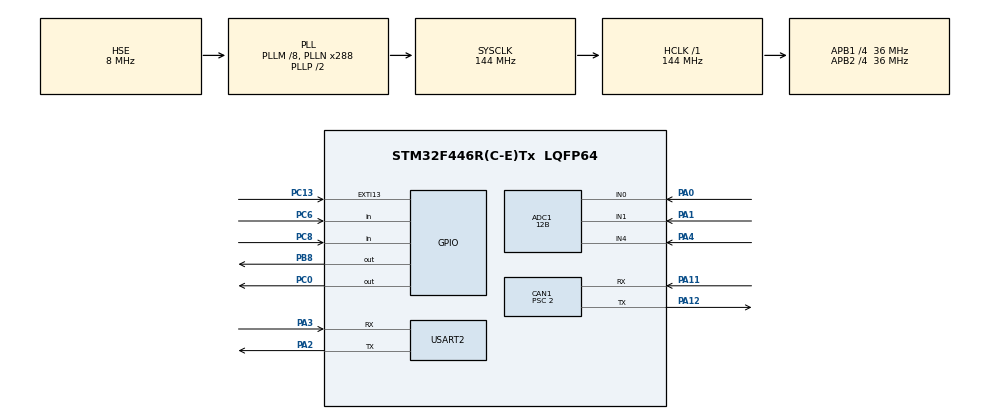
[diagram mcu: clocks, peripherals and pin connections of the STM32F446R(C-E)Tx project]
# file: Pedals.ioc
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ADC1.Channel-0\#ChannelRegularConversion=ADC_CHANNEL_0
ADC1.Channel-1\#ChannelRegularConversion=ADC_CHANNEL_1
ADC1.Channel-2\#ChannelRegularConversion=ADC_CHANNEL_4
ADC1.ClockPrescaler=ADC_CLOCK_SYNC_PCLK_DIV2
ADC1.ContinuousConvMode=ENABLE
ADC1.DMAContinuousRequests=ENABLE
ADC1.DataAlign=ADC_DATAALIGN_RIGHT
ADC1.DiscontinuousConvMode=DISABLE
ADC1.EOCSelection=ADC_EOC_SINGLE_CONV
ADC1.EnableAnalogWatchDog=false
ADC1.ExternalTrigConv=ADC_SOFTWARE_START
ADC1.ExternalTrigConvEdge=ADC_EXTERNALTRIGCONVEDGE_NONE
ADC1.InjNumberOfConversion=0
ADC1.NbrOfConversion=3
ADC1.NbrOfConversionFlag=1
ADC1.Rank-0\#ChannelRegularConversion=1
ADC1.Rank-1\#ChannelRegularConversion=2
ADC1.Rank-2\#ChannelRegularConversion=3
ADC1.Resolution=ADC_RESOLUTION_12B
ADC1.SamplingTime-0\#ChannelRegularConversion=ADC_SAMPLETIME_480CYCLES
ADC1.SamplingTime-1\#ChannelRegularConversion=ADC_SAMPLETIME_480CYCLES
ADC1.SamplingTime-2\#ChannelRegularConversion=ADC_SAMPLETIME_480CYCLES
ADC1.ScanConvMode=ENABLE
ADC1.master=1
CAN1.AWUM=ENABLE
CAN1.AutoWakeUp=ENABLE
CAN1.BS1=CAN_BS1_12TQ
CAN1.BS2=CAN_BS2_5TQ
CAN1.CalculateTimeBit=1000
CAN1.CalculateTimeQuantum=55.55555555555556
CAN1.Prescaler=2
CAN1.TimeSeg1=CAN_BS1_12TQ
CAN1.TimeSeg2=CAN_BS2_5TQ
Dma.ADC1.0.Direction=DMA_PERIPH_TO_MEMORY
Dma.ADC1.0.FIFOMode=DMA_FIFOMODE_DISABLE
Dma.ADC1.0.Instance=DMA2_Stream0
Dma.ADC1.0.MemDataAlignment=DMA_MDATAALIGN_WORD
Dma.ADC1.0.MemInc=DMA_MINC_ENABLE
Dma.ADC1.0.Mode=DMA_CIRCULAR
Dma.ADC1.0.PeriphDataAlignment=DMA_PDATAALIGN_WORD
Dma.ADC1.0.PeriphInc=DMA_PINC_DISABLE
Dma.ADC1.0.Priority=DMA_PRIORITY_LOW
Dma.Request0=ADC1
Mcu.Family=STM32F4
Mcu.Name=STM32F446R(C-E)Tx
Mcu.Package=LQFP64
NVIC.ADC_IRQn=true\:0\:0\:false\:true\:true\:1\:true\:true
NVIC.CAN1_RX0_IRQn=true\:0\:0\:false\:true\:true\:3\:true\:true
NVIC.CAN1_RX1_IRQn=true\:0\:0\:false\:true\:true\:4\:true\:true
NVIC.CAN1_SCE_IRQn=true\:0\:0\:false\:true\:true\:5\:true\:true
NVIC.CAN1_TX_IRQn=true\:0\:0\:false\:true\:true\:2\:true\:true
NVIC.DMA2_Stream0_IRQn=true\:0\:0\:false\:false\:true\:false\:true
NVIC.EXTI15_10_IRQn=true\:0\:0\:false\:false\:true\:true\:true
NVIC.PriorityGroup=NVIC_PRIORITYGROUP_4
NVIC.TIM2_IRQn=true\:0\:0\:false\:true\:true\:8\:true\:true
NVIC.TIM3_IRQn=true\:0\:0\:false\:true\:true\:6\:true\:true
NVIC.TIM4_IRQn=true\:0\:0\:false\:true\:true\:7\:true\:true
PA0-WKUP.Signal=ADCx_IN0
PA1.Signal=ADCx_IN1
PA11.GPIO_PuPd=GPIO_PULLUP
PA11.Mode=Master
PA11.Signal=CAN1_RX
PA12.Mode=Master
PA12.Signal=CAN1_TX
PA2.Mode=Asynchronous
PA2.Signal=USART2_TX
PA3.Mode=Asynchronous
PA3.Signal=USART2_RX
PA4.Signal=ADCx_IN4
PB8.Signal=GPIO_Output
PC0.Signal=GPIO_Output
PC13.Signal=GPXTI13
PC6.GPIO_PuPd=GPIO_PULLUP
PC6.Signal=GPIO_Input
PC8.Signal=GPIO_Input
PH0-OSC_IN.Mode=HSE-External-Clock-Source
PH0-OSC_IN.Signal=RCC_OSC_IN
PH1-OSC_OUT.Mode=HSE-External-Clock-Source
PH1-OSC_OUT.Signal=RCC_OSC_OUT
ProjectManager.HeapSize=0x200
ProjectManager.StackSize=0x400
ProjectManager.TargetToolchain=Makefile
RCC.AHBFreq_Value=144000000
RCC.APB1CLKDivider=RCC_HCLK_DIV4
RCC.APB1Freq_Value=36000000
RCC.APB1TimFreq_Value=72000000
RCC.APB2CLKDivider=RCC_HCLK_DIV4
RCC.APB2Freq_Value=36000000
RCC.APB2TimFreq_Value=72000000
RCC.CortexFreq_Value=144000000
RCC.HCLKFreq_Value=144000000
RCC.HSE_VALUE=8000000
RCC.PLLM=8
RCC.PLLN=288
RCC.PLLSourceVirtual=RCC_PLLSOURCE_HSE
RCC.SYSCLKFreq_VALUE=144000000
RCC.SYSCLKSource=RCC_SYSCLKSOURCE_PLLCLK
RCC.USBFreq_Value=144000000
RCC.VCOOutputFreq_Value=288000000
SH.ADCx_IN0.0=ADC1_IN0,IN0
SH.ADCx_IN1.0=ADC1_IN1,IN1
SH.ADCx_IN4.0=ADC1_IN4,IN4
TIM2.Period=500
TIM2.Prescaler=3600
TIM3.Period=1000
TIM3.Prescaler=42666
TIM4.Period=500
TIM4.Prescaler=3600
TIM7.Period=10000
TIM7.Prescaler=18
USART2.VirtualMode=VM_ASYNC
VP_TIM2_VS_ClockSourceINT.Mode=Internal
VP_TIM3_VS_ClockSourceINT.Mode=Internal
VP_TIM4_VS_ClockSourceINT.Mode=Internal
VP_TIM7_VS_ClockSourceINT.Mode=Enable_Timer
board=Pedals

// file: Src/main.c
/* USER CODE BEGIN Header */
/**
  ******************************************************************************
  * @file           : main.c
  * @brief          : Main program body
  ******************************************************************************
  * @attention
  *
  * <h2><center>&copy; Copyright (c) 2019 STMicroelectronics.
  * All rights reserved.</center></h2>
  *
  * This software component is licensed by ST under BSD 3-Clause license,
  * the "License"; You may not use this file except in compliance with the
  * License. You may obtain a copy of the License at:
  *                        opensource.org/licenses/BSD-3-Clause
  *
  ******************************************************************************
  */
/* USER CODE END Header */

#include "main.h"

/* USER CODE BEGIN Includes */
#include "stm32f4xx_hal_gpio.h"
#include "Eagle_TRT.h"
#include "stm32f4xx_it.h"
#include <string.h>
#include <math.h>
#include <stdlib.h>
#include <inttypes.h>
/* USER CODE END Includes */

ADC_HandleTypeDef hadc1;
DMA_HandleTypeDef hdma_adc1;

CAN_HandleTypeDef hcan1;

TIM_HandleTypeDef htim2;
TIM_HandleTypeDef htim3;
TIM_HandleTypeDef htim4;
TIM_HandleTypeDef htim7;

UART_HandleTypeDef huart2;

/* USER CODE BEGIN PV */
/* Private variables ---------------------------------------------------------*/

extern pot_stc pot_1;
extern pot_stc pot_2;
extern pot_stc pot_3;
extern can_stc can;

int val0_100, val1_100, val2_100, Error, SCS, SCS1, SCS_Send, SCS_Send_real, Time1, Time2, fake_i, check, flag;
int fake_min0 = 0, fake_max0 = 6000, fake_min1 = 60000, fake_max1 = 0;
uint32_t fake1[5];
uint32_t fake2[5];

uint32_t valMax0, valMin0, valMax1, valMin1, valMax2, valMin2, val0rang, val1rang, val2rang;
uint32_t ADC_buffer[3], val[3];

static TIM_HandleTypeDef a_TimerInstance2 = {.Instance = TIM2};
static TIM_HandleTypeDef a_TimerInstance3 = {.Instance = TIM3};
static TIM_HandleTypeDef a_TimerInstance4 = {.Instance = TIM4};
static TIM_HandleTypeDef a_TimerInstance7 = {.Instance = TIM7};

CAN_RxHeaderTypeDef RxHeader;
CAN_FilterTypeDef sFilter;
HAL_CAN_StateTypeDef state;
uint32_t full;

uint8_t CheckControl[4];

char val0[256];
char value_Error[256];
char txt[500];

int multiplier = 1;

int pc6 = 0;

int timer_flag = 0;
int command_flag = 0;

int steer_wheel_prescaler;
int previous_millis;

int stampa = 0;

uint8_t RxData[8];
/* USER CODE END PV */

void SystemClock_Config(void);
static void MX_GPIO_Init(void);
static void MX_DMA_Init(void);
static void MX_USART2_UART_Init(void);
static void MX_ADC1_Init(void);
static void MX_TIM3_Init(void);
static void MX_CAN1_Init(void);
static void MX_TIM2_Init(void);
static void MX_TIM4_Init(void);
static void MX_TIM7_Init(void);
static void MX_NVIC_Init(void);
/* USER CODE BEGIN PFP */
/* Private function prototypes -----------------------------------------------*/

/* USER CODE END PFP */

/* USER CODE BEGIN 0 */
void HAL_ADC_ConvCpltCallback(ADC_HandleTypeDef *hadc)
{
  pot_1.val = ADC_buffer[0];
  pot_2.val = ADC_buffer[1];
  pot_3.val = ADC_buffer[2];
  stampa++;
}
void print_Max_Min()
{
  if (fake_min0 <= pot_1.val)
  {
    fake_min0 = pot_1.val;
  }
  if (fake_max0 >= pot_1.val)
  {
    fake_max0 = pot_1.val;
  }
  if (fake_min1 >= pot_2.val)
  {
    fake_min1 = pot_2.val;
  }
  if (fake_max1 <= pot_2.val)
  {
    fake_max1 = pot_2.val;
  }
  sprintf(txt, "valMIN0 = %d valMAX0 = %d \t valMIN1 = %d valMAX1 = %d val0_100 = %d val1_100 = %d \r\n", fake_min0, fake_max0, fake_min1, fake_max1, pot_1.val, pot_2.val);
  HAL_UART_Transmit(&huart2, (uint8_t *)txt, strlen(txt), 10);
}

/* USER CODE END 0 */

int main(void)
{
  /* USER CODE BEGIN 1 */
  pot_1.min = 4001;
  pot_1.max = 3872; //released
  pot_1.range = abs(pot_1.max - pot_1.min);
  pot_2.min = 2614;
  pot_2.max = 2730; //released
  pot_2.range = abs(pot_2.max - pot_2.min);
  check = 0;
  fake_i = 0;

  val[1] = 0;

  Error = 0;

  CheckControl[0] = 0;
  CheckControl[1] = 0;
  CheckControl[2] = 0;
  CheckControl[3] = 0;

  /* USER CODE END 1 */

  /* MCU Configuration--------------------------------------------------------*/

  /* Reset of all peripherals, Initializes the Flash interface and the Systick. */
  HAL_Init();

  /* Configure the system clock */
  SystemClock_Config();

  /* Initialize all configured peripherals */
  MX_GPIO_Init();
  MX_DMA_Init();
  MX_USART2_UART_Init();
  MX_ADC1_Init();
  MX_TIM3_Init();
  MX_CAN1_Init();
  MX_TIM2_Init();
  MX_TIM4_Init();
  MX_TIM7_Init();

  /* Initialize interrupts */
  MX_NVIC_Init();
  /* USER CODE BEGIN 2 */

  sFilter.FilterMode = CAN_FILTERMODE_IDMASK;
  sFilter.FilterIdLow = 0;
  sFilter.FilterIdHigh = 0;
  sFilter.FilterMaskIdHigh = 0;
  sFilter.FilterMaskIdLow = 0;
  sFilter.FilterFIFOAssignment = CAN_FILTER_FIFO0;
  sFilter.FilterBank = 0;
  sFilter.FilterScale = CAN_FILTERSCALE_16BIT;
  sFilter.FilterActivation = ENABLE;
  HAL_CAN_ConfigFilter(&hcan1, &sFilter);

  HAL_CAN_Start(&hcan1);

  uint8_t TxData[8];

  HAL_CAN_ActivateNotification(&hcan1, CAN1_RX0_IRQn);
  HAL_CAN_ActivateNotification(&hcan1, CAN1_RX1_IRQn);

  HAL_TIM_Base_Start(&htim2);
  HAL_TIM_Base_Start(&htim3);
  //HAL_TIM_Base_Start(&htim4);
  HAL_TIM_Base_Start(&htim7);
  HAL_TIM_Base_Start_IT(&htim2);
  //HAL_TIM_Base_Start_IT(&htim4);

  __HAL_TIM_SET_COUNTER(&a_TimerInstance2, 0);
  __HAL_TIM_SET_COUNTER(&a_TimerInstance3, 0);
  //__HAL_TIM_SET_COUNTER(&a_TimerInstance4, 500);

  pot_1.TimerInstance = &htim3;
  can.hcan = &hcan1;

  steer_wheel_prescaler = htim2.Init.Period;
  steer_wheel_prescaler /= 8;
  steer_wheel_prescaler /= 20;
  steer_wheel_prescaler += 2;

  HAL_UART_Transmit(&huart2, (uint8_t *)"vivo\r\n", strlen("vivo\r\n"), 10);

  /* USER CODE END 2 */

  /* Infinite loop */
  while (1)
  {

    /* USER CODE BEGIN 3 */
    uint8_t CanSendMSG[8];
    uint8_t RxData[8];
    //SCS = 0;
    SCS_Send = 0;
    SCS_Send_real = 0;

    ///CALCULATING APPS% GAIN///
    HAL_ADC_Start_DMA(&hadc1, ADC_buffer, 3);

    if (HAL_GPIO_ReadPin(GPIOC, GPIO_PIN_6) == GPIO_PIN_SET)
    {
      pc6 = 100;
    }
    else
    {
      pc6 = 0;
    }

    // If CAN is free from important messages, send data
    if (command_flag == 0)
    {
      if (previous_millis != HAL_GetTick())
      {
        send_CAN_data(HAL_GetTick());
        previous_millis = HAL_GetTick();
      }
    }
    else
    {
      HAL_Delay(1);
      command_flag = 0;
    }

    //print_Max_Min();
    /*
	  if(command_flag == 1){
		  HAL_TIM_Base_Stop_IT(&htim2);
		  HAL_Delay(500);
		  HAL_TIM_Base_Start_IT(&htim2);
		  __HAL_TIM_SET_COUNTER(&a_TimerInstance2, 0);

		  command_flag = 0;
	  }*/

    ///LED STRIP BRAKE LIGHT CODE///
    if (pc6 == GPIO_PIN_SET)
    {
      HAL_GPIO_WritePin(GPIOC, GPIO_PIN_0, GPIO_PIN_SET);
    }
    else if (pc6 == GPIO_PIN_RESET)
    {
      HAL_GPIO_WritePin(GPIOC, GPIO_PIN_0, GPIO_PIN_RESET);
    }

    calc_pot_value(&pot_1);
    calc_pot_value(&pot_2);

    /*if(pot_1.val < 300 || pot_2.val < 300){
		  pot_1.val = 0;
		  pot_2.val = 0;
		  //pot_1.val_100 = 0;
		  //pot_2.val_100 = 0;
		  SCS1 = 1;
		  SCS_Send = 1;
		  SCS = 1;
	  }else{
		  SCS = 0;
		  SCS1 = 0;
		  SCS_Send = 0;
	  }*/

    //print_Max_Min();

    if (implausibility_check(&pot_1, &pot_2) == 1)
    {
      //pot_1.val_100 = 0;
      //pot_2.val_100 = 0;
      SCS_Send = 1;
    }

    /*if (SCS != 0 || SCS1 != 0){
		  pot_1.val_100 = 0;
		  pot_2.val_100 = 0;
		  val2_100 = GPIO_PIN_RESET;
		  SCS_Send = 1;
	  }*/

    /*sprintf(txt, "val0: %d , val1: %d , val0_100: %d, val1_100: %d, SCS: %d, SCS1: %d, SCS_send: %d \r\n",
			  pot_1.val, pot_2.val, pot_1.val_100, 100 - pot_2.val_100, SCS, SCS1, SCS_Send);
	  HAL_UART_Transmit(&huart2, (uint8_t*)txt, strlen(txt), 10);*/

    //sprintf(txt,"adc1: %d, adc2: %d, adc3: %d\r\n",(int)ADC_buffer[0],(int)ADC_buffer[1],(int)ADC_buffer[2]);
    //HAL_UART_Transmit(&huart2, (uint8_t*)txt, strlen(txt), 10);
  }

  /* USER CODE END 3 */
}

void SystemClock_Config(void)
{
  RCC_OscInitTypeDef RCC_OscInitStruct = {0};
  RCC_ClkInitTypeDef RCC_ClkInitStruct = {0};

  /** Configure the main internal regulator output voltage
  */
  __HAL_RCC_PWR_CLK_ENABLE();
  __HAL_PWR_VOLTAGESCALING_CONFIG(PWR_REGULATOR_VOLTAGE_SCALE1);
  /** Initializes the CPU, AHB and APB busses clocks
  */
  RCC_OscInitStruct.OscillatorType = RCC_OSCILLATORTYPE_HSE;
  RCC_OscInitStruct.HSEState = RCC_HSE_BYPASS;
  RCC_OscInitStruct.PLL.PLLState = RCC_PLL_ON;
  RCC_OscInitStruct.PLL.PLLSource = RCC_PLLSOURCE_HSE;
  RCC_OscInitStruct.PLL.PLLM = 8;
  RCC_OscInitStruct.PLL.PLLN = 288;
  RCC_OscInitStruct.PLL.PLLP = RCC_PLLP_DIV2;
  RCC_OscInitStruct.PLL.PLLQ = 2;
  RCC_OscInitStruct.PLL.PLLR = 2;
  if (HAL_RCC_OscConfig(&RCC_OscInitStruct) != HAL_OK)
  {
    Error_Handler();
  }
  /** Initializes the CPU, AHB and APB busses clocks
  */
  RCC_ClkInitStruct.ClockType = RCC_CLOCKTYPE_HCLK|RCC_CLOCKTYPE_SYSCLK
                              |RCC_CLOCKTYPE_PCLK1|RCC_CLOCKTYPE_PCLK2;
  RCC_ClkInitStruct.SYSCLKSource = RCC_SYSCLKSOURCE_PLLCLK;
  RCC_ClkInitStruct.AHBCLKDivider = RCC_SYSCLK_DIV1;
  RCC_ClkInitStruct.APB1CLKDivider = RCC_HCLK_DIV4;
  RCC_ClkInitStruct.APB2CLKDivider = RCC_HCLK_DIV4;

  if (HAL_RCC_ClockConfig(&RCC_ClkInitStruct, FLASH_LATENCY_4) != HAL_OK)
  {
    Error_Handler();
  }
}

/**
  * @brief NVIC Configuration.
  * @retval None
  */
static void MX_NVIC_Init(void)
{
  /* ADC_IRQn interrupt configuration */
  HAL_NVIC_SetPriority(ADC_IRQn, 0, 0);
  HAL_NVIC_EnableIRQ(ADC_IRQn);
  /* CAN1_TX_IRQn interrupt configuration */
  HAL_NVIC_SetPriority(CAN1_TX_IRQn, 0, 0);
  HAL_NVIC_EnableIRQ(CAN1_TX_IRQn);
  /* CAN1_RX0_IRQn interrupt configuration */
  HAL_NVIC_SetPriority(CAN1_RX0_IRQn, 0, 0);
  HAL_NVIC_EnableIRQ(CAN1_RX0_IRQn);
  /* CAN1_RX1_IRQn interrupt configuration */
  HAL_NVIC_SetPriority(CAN1_RX1_IRQn, 0, 0);
  HAL_NVIC_EnableIRQ(CAN1_RX1_IRQn);
  /* CAN1_SCE_IRQn interrupt configuration */
  HAL_NVIC_SetPriority(CAN1_SCE_IRQn, 0, 0);
  HAL_NVIC_EnableIRQ(CAN1_SCE_IRQn);
  /* TIM3_IRQn interrupt configuration */
  HAL_NVIC_SetPriority(TIM3_IRQn, 0, 0);
  HAL_NVIC_EnableIRQ(TIM3_IRQn);
  /* TIM4_IRQn interrupt configuration */
  HAL_NVIC_SetPriority(TIM4_IRQn, 0, 0);
  HAL_NVIC_EnableIRQ(TIM4_IRQn);
  /* TIM2_IRQn interrupt configuration */
  HAL_NVIC_SetPriority(TIM2_IRQn, 0, 0);
  HAL_NVIC_EnableIRQ(TIM2_IRQn);
}

static void MX_ADC1_Init(void)
{

  ADC_ChannelConfTypeDef sConfig = {0};

  /** Configure the global features of the ADC (Clock, Resolution, Data Alignment and number of conversion)
  */
  hadc1.Instance = ADC1;
  hadc1.Init.ClockPrescaler = ADC_CLOCK_SYNC_PCLK_DIV2;
  hadc1.Init.Resolution = ADC_RESOLUTION_12B;
  hadc1.Init.ScanConvMode = ENABLE;
  hadc1.Init.ContinuousConvMode = ENABLE;
  hadc1.Init.DiscontinuousConvMode = DISABLE;
  hadc1.Init.ExternalTrigConvEdge = ADC_EXTERNALTRIGCONVEDGE_NONE;
  hadc1.Init.ExternalTrigConv = ADC_SOFTWARE_START;
  hadc1.Init.DataAlign = ADC_DATAALIGN_RIGHT;
  hadc1.Init.NbrOfConversion = 3;
  hadc1.Init.DMAContinuousRequests = ENABLE;
  hadc1.Init.EOCSelection = ADC_EOC_SINGLE_CONV;
  if (HAL_ADC_Init(&hadc1) != HAL_OK)
  {
    Error_Handler();
  }
  /** Configure for the selected ADC regular channel its corresponding rank in the sequencer and its sample time.
  */
  sConfig.Channel = ADC_CHANNEL_0;
  sConfig.Rank = 1;
  sConfig.SamplingTime = ADC_SAMPLETIME_480CYCLES;
  if (HAL_ADC_ConfigChannel(&hadc1, &sConfig) != HAL_OK)
  {
    Error_Handler();
  }
  /** Configure for the selected ADC regular channel its corresponding rank in the sequencer and its sample time.
  */
  sConfig.Channel = ADC_CHANNEL_1;
  sConfig.Rank = 2;
  if (HAL_ADC_ConfigChannel(&hadc1, &sConfig) != HAL_OK)
  {
    Error_Handler();
  }
  /** Configure for the selected ADC regular channel its corresponding rank in the sequencer and its sample time.
  */
  sConfig.Channel = ADC_CHANNEL_4;
  sConfig.Rank = 3;
  if (HAL_ADC_ConfigChannel(&hadc1, &sConfig) != HAL_OK)
  {
    Error_Handler();
  }

}

static void MX_CAN1_Init(void)
{

  hcan1.Instance = CAN1;
  hcan1.Init.Prescaler = 2;
  hcan1.Init.Mode = CAN_MODE_NORMAL;
  hcan1.Init.SyncJumpWidth = CAN_SJW_1TQ;
  hcan1.Init.TimeSeg1 = CAN_BS1_12TQ;
  hcan1.Init.TimeSeg2 = CAN_BS2_5TQ;
  hcan1.Init.TimeTriggeredMode = DISABLE;
  hcan1.Init.AutoBusOff = DISABLE;
  hcan1.Init.AutoWakeUp = ENABLE;
  hcan1.Init.AutoRetransmission = DISABLE;
  hcan1.Init.ReceiveFifoLocked = DISABLE;
  hcan1.Init.TransmitFifoPriority = DISABLE;
  if (HAL_CAN_Init(&hcan1) != HAL_OK)
  {
    Error_Handler();
  }

}

static void MX_TIM2_Init(void)
{

  TIM_ClockConfigTypeDef sClockSourceConfig = {0};
  TIM_MasterConfigTypeDef sMasterConfig = {0};

  htim2.Instance = TIM2;
  htim2.Init.Prescaler = 3600;
  htim2.Init.CounterMode = TIM_COUNTERMODE_UP;
  htim2.Init.Period = 500;
  htim2.Init.ClockDivision = TIM_CLOCKDIVISION_DIV1;
  htim2.Init.AutoReloadPreload = TIM_AUTORELOAD_PRELOAD_DISABLE;
  if (HAL_TIM_Base_Init(&htim2) != HAL_OK)
  {
    Error_Handler();
  }
  sClockSourceConfig.ClockSource = TIM_CLOCKSOURCE_INTERNAL;
  if (HAL_TIM_ConfigClockSource(&htim2, &sClockSourceConfig) != HAL_OK)
  {
    Error_Handler();
  }
  sMasterConfig.MasterOutputTrigger = TIM_TRGO_RESET;
  sMasterConfig.MasterSlaveMode = TIM_MASTERSLAVEMODE_DISABLE;
  if (HAL_TIMEx_MasterConfigSynchronization(&htim2, &sMasterConfig) != HAL_OK)
  {
    Error_Handler();
  }

}

static void MX_TIM3_Init(void)
{

  TIM_ClockConfigTypeDef sClockSourceConfig = {0};
  TIM_MasterConfigTypeDef sMasterConfig = {0};

  htim3.Instance = TIM3;
  htim3.Init.Prescaler = 42666;
  htim3.Init.CounterMode = TIM_COUNTERMODE_UP;
  htim3.Init.Period = 1000;
  htim3.Init.ClockDivision = TIM_CLOCKDIVISION_DIV1;
  htim3.Init.AutoReloadPreload = TIM_AUTORELOAD_PRELOAD_DISABLE;
  if (HAL_TIM_Base_Init(&htim3) != HAL_OK)
  {
    Error_Handler();
  }
  sClockSourceConfig.ClockSource = TIM_CLOCKSOURCE_INTERNAL;
  if (HAL_TIM_ConfigClockSource(&htim3, &sClockSourceConfig) != HAL_OK)
  {
    Error_Handler();
  }
  sMasterConfig.MasterOutputTrigger = TIM_TRGO_RESET;
  sMasterConfig.MasterSlaveMode = TIM_MASTERSLAVEMODE_DISABLE;
  if (HAL_TIMEx_MasterConfigSynchronization(&htim3, &sMasterConfig) != HAL_OK)
  {
    Error_Handler();
  }

}

static void MX_TIM4_Init(void)
{

  TIM_ClockConfigTypeDef sClockSourceConfig = {0};
  TIM_MasterConfigTypeDef sMasterConfig = {0};

  htim4.Instance = TIM4;
  htim4.Init.Prescaler = 3600;
  htim4.Init.CounterMode = TIM_COUNTERMODE_UP;
  htim4.Init.Period = 500;
  htim4.Init.ClockDivision = TIM_CLOCKDIVISION_DIV1;
  htim4.Init.AutoReloadPreload = TIM_AUTORELOAD_PRELOAD_DISABLE;
  if (HAL_TIM_Base_Init(&htim4) != HAL_OK)
  {
    Error_Handler();
  }
  sClockSourceConfig.ClockSource = TIM_CLOCKSOURCE_INTERNAL;
  if (HAL_TIM_ConfigClockSource(&htim4, &sClockSourceConfig) != HAL_OK)
  {
    Error_Handler();
  }
  sMasterConfig.MasterOutputTrigger = TIM_TRGO_RESET;
  sMasterConfig.MasterSlaveMode = TIM_MASTERSLAVEMODE_DISABLE;
  if (HAL_TIMEx_MasterConfigSynchronization(&htim4, &sMasterConfig) != HAL_OK)
  {
    Error_Handler();
  }

}

static void MX_TIM7_Init(void)
{

  TIM_MasterConfigTypeDef sMasterConfig = {0};

  htim7.Instance = TIM7;
  htim7.Init.Prescaler = 18;
  htim7.Init.CounterMode = TIM_COUNTERMODE_UP;
  htim7.Init.Period = 10000;
  htim7.Init.AutoReloadPreload = TIM_AUTORELOAD_PRELOAD_DISABLE;
  if (HAL_TIM_Base_Init(&htim7) != HAL_OK)
  {
    Error_Handler();
  }
  sMasterConfig.MasterOutputTrigger = TIM_TRGO_RESET;
  sMasterConfig.MasterSlaveMode = TIM_MASTERSLAVEMODE_DISABLE;
  if (HAL_TIMEx_MasterConfigSynchronization(&htim7, &sMasterConfig) != HAL_OK)
  {
    Error_Handler();
  }

}

static void MX_USART2_UART_Init(void)
{

  huart2.Instance = USART2;
  huart2.Init.BaudRate = 115200;
  huart2.Init.WordLength = UART_WORDLENGTH_8B;
  huart2.Init.StopBits = UART_STOPBITS_1;
  huart2.Init.Parity = UART_PARITY_NONE;
  huart2.Init.Mode = UART_MODE_TX_RX;
  huart2.Init.HwFlowCtl = UART_HWCONTROL_NONE;
  huart2.Init.OverSampling = UART_OVERSAMPLING_16;
  if (HAL_UART_Init(&huart2) != HAL_OK)
  {
    Error_Handler();
  }

}

static void MX_DMA_Init(void)
{

  /* DMA controller clock enable */
  __HAL_RCC_DMA2_CLK_ENABLE();

  /* DMA interrupt init */
  /* DMA2_Stream0_IRQn interrupt configuration */
  HAL_NVIC_SetPriority(DMA2_Stream0_IRQn, 0, 0);
  HAL_NVIC_EnableIRQ(DMA2_Stream0_IRQn);

}

static void MX_GPIO_Init(void)
{
  GPIO_InitTypeDef GPIO_InitStruct = {0};

  /* GPIO Ports Clock Enable */
  __HAL_RCC_GPIOC_CLK_ENABLE();
  __HAL_RCC_GPIOH_CLK_ENABLE();
  __HAL_RCC_GPIOA_CLK_ENABLE();
  __HAL_RCC_GPIOB_CLK_ENABLE();

  /*Configure GPIO pin Output Level */
  HAL_GPIO_WritePin(GPIOC, GPIO_PIN_0, GPIO_PIN_RESET);

  /*Configure GPIO pin Output Level */
  HAL_GPIO_WritePin(GPIOB, GPIO_PIN_8, GPIO_PIN_RESET);

  /*Configure GPIO pin : PC13 */
  GPIO_InitStruct.Pin = GPIO_PIN_13;
  GPIO_InitStruct.Mode = GPIO_MODE_IT_RISING;
  GPIO_InitStruct.Pull = GPIO_NOPULL;
  HAL_GPIO_Init(GPIOC, &GPIO_InitStruct);

  /*Configure GPIO pin : PC0 */
  GPIO_InitStruct.Pin = GPIO_PIN_0;
  GPIO_InitStruct.Mode = GPIO_MODE_OUTPUT_PP;
  GPIO_InitStruct.Pull = GPIO_NOPULL;
  GPIO_InitStruct.Speed = GPIO_SPEED_FREQ_LOW;
  HAL_GPIO_Init(GPIOC, &GPIO_InitStruct);

  /*Configure GPIO pin : PC6 */
  GPIO_InitStruct.Pin = GPIO_PIN_6;
  GPIO_InitStruct.Mode = GPIO_MODE_INPUT;
  GPIO_InitStruct.Pull = GPIO_PULLUP;
  HAL_GPIO_Init(GPIOC, &GPIO_InitStruct);

  /*Configure GPIO pin : PC8 */
  GPIO_InitStruct.Pin = GPIO_PIN_8;
  GPIO_InitStruct.Mode = GPIO_MODE_INPUT;
  GPIO_InitStruct.Pull = GPIO_NOPULL;
  HAL_GPIO_Init(GPIOC, &GPIO_InitStruct);

  /*Configure GPIO pin : PB8 */
  GPIO_InitStruct.Pin = GPIO_PIN_8;
  GPIO_InitStruct.Mode = GPIO_MODE_OUTPUT_PP;
  GPIO_InitStruct.Pull = GPIO_NOPULL;
  GPIO_InitStruct.Speed = GPIO_SPEED_FREQ_LOW;
  HAL_GPIO_Init(GPIOB, &GPIO_InitStruct);

  /* EXTI interrupt init*/
  HAL_NVIC_SetPriority(EXTI15_10_IRQn, 0, 0);
  HAL_NVIC_EnableIRQ(EXTI15_10_IRQn);

}

/* USER CODE BEGIN 4 */

void HAL_CAN_RxFifo0FullCallback(CAN_HandleTypeDef *hcan)
{
  ///CALIBRATION CODE///
  int idsave = CAN_Receive(&can);
  uint8_t CanSendMSG[8];
  /*
		  if(idsave == 0x55 || idsave == 0x201){
			  if(can.dataRx[0] == 0x51 || can.dataRx[0] == 0x03 || can.dataRx[0] == 0x04 || can.dataRx[0] == 0x05 || can.dataRx[0] == 0x08 || can.dataRx[0] == 0x0A || can.dataRx[0] == 0x0B){
				  command_flag = 1;
				  idsave = 0;
			  }
		  }
		  if(idsave == 0xA0 || idsave == 0xAA || idsave == 0x181){
			  if(can.dataRx[0] == 0x03 || can.dataRx[0] == 0x04 || can.dataRx[0] == 0x05 || can.dataRx[0] == 0x08 || can.dataRx[0] == 0xD8){
				  command_flag = 1;
				  idsave = 0;
			  }
		  }*/

  if (idsave == 0xBB)
  {
    //  sprintf(val0, "APPS1: %d \r\n", idsave);  //use "%lu" for long, "%d" for int
    //		  HAL_UART_Transmit(&huart2, (uint8_t*)val0, strlen(val0), 10);
    if ((can.dataRx[0] == 0) && (can.dataRx[1] == 0))
    {
      set_max(&pot_1);
      set_min(&pot_2);
      //CheckControl[0] = 1;
      can.dataTx[0] = 0;
      can.dataTx[1] = 0;
      can.dataTx[2] = 0;
      can.dataTx[3] = 0;
      can.dataTx[4] = 0;
      can.dataTx[5] = 0;
      can.dataTx[6] = 0;
      can.dataTx[7] = 0;
      can.id = 0xBC;
      can.size = 8;
      CAN_Send(&can);
      check = 1;
    }
    if ((can.dataRx[0] == 0) && (can.dataRx[1] == 1))
    {
      set_min(&pot_1);
      set_max(&pot_2);
      //CheckControl[1] = 1;
      can.dataTx[0] = 0;
      can.dataTx[1] = 1;
      can.dataTx[2] = 0;
      can.dataTx[3] = 0;
      can.dataTx[4] = 0;
      can.dataTx[5] = 0;
      can.dataTx[6] = 0;
      can.dataTx[7] = 0;
      can.id = 0xBC;
      can.size = 8;
      CAN_Send(&can);
      check = 0;
    }
    //val0rang = abs(valMax0 - valMin0);
    //val1rang = abs(valMax1 - valMin1);
    pot_1.range = abs(pot_1.max - pot_1.min);
    pot_2.range = abs(pot_2.max - pot_2.min);
  }
  if (idsave == 195 && can.dataRx[0] == 0)
  {
    multiplier = can.dataRx[1] * 256 + can.dataRx[2];
  }
}

void HAL_TIM_PeriodElapsedCallback(TIM_HandleTypeDef *htim)
{

  if (htim == &htim2)
  { /*
		switch(timer_flag){
		case 0:
			can.dataTx[0] = 0x02;
			can.dataTx[1] = pc6;
			can.dataTx[2] = 0;
			can.dataTx[3] = steer_wheel_prescaler;
			can.dataTx[4] = 0;
			can.dataTx[5] = 0;
			can.dataTx[6] = SCS_Send;
			can.dataTx[7] = 0;
			can.id = 0xB0;
			can.size = 8;
			CAN_Send(&can);
			timer_flag ++;
			//SCS = 0;
			//SCS_Send = 0;
			break;
		case 1:
			timer_flag ++;
			break;
		case 2:
			timer_flag ++;
			break;
		case 3:
			if (check != 1){
			  can.dataTx[0] = 0x01;
			  can.dataTx[1] = pot_2.val_100;
			  can.dataTx[2] = pot_1.val_100;
			  can.dataTx[3] = steer_wheel_prescaler;
			  can.dataTx[4] = 0;
			  can.dataTx[5] = 0;
			  can.dataTx[6] = SCS_Send;
			  can.dataTx[7] = 0;
			  can.id = 0xB0;
			  can.size = 8;
			  CAN_Send(&can);
			  timer_flag ++;
			  //SCS = 0;
			  //SCS_Send = 0;
			}
			break;
		case 4:
			timer_flag ++;
			break;
		case 5:
			timer_flag ++;
			break;
		case 6:
			timer_flag ++;
			break;
		case 7:
			timer_flag = 0;
			break;
		}*/
    if (timer_flag == 1 * multiplier)
    {
      can.dataTx[0] = 0x02;
      can.dataTx[1] = pc6;
      can.dataTx[2] = 0;
      can.dataTx[3] = steer_wheel_prescaler;
      can.dataTx[4] = 0;
      can.dataTx[5] = 0;
      can.dataTx[6] = SCS_Send;
      can.dataTx[7] = 0;
      can.id = 0xB0;
      can.size = 8;
      CAN_Send(&can);
      //SCS = 0;
      //SCS_Send = 0;
    }
    if (timer_flag == 2 * multiplier)
    {
    }
    if (timer_flag == 3 * multiplier)
    {
    }
    if (timer_flag == 4 * multiplier)
    {
      if (check != 1)
      {
        can.dataTx[0] = 0x01;
        can.dataTx[1] = pot_2.val_100;
        can.dataTx[2] = pot_1.val_100;
        can.dataTx[3] = steer_wheel_prescaler;
        can.dataTx[4] = 0;
        can.dataTx[5] = 0;
        can.dataTx[6] = SCS_Send;
        can.dataTx[7] = 0;
        can.id = 0xB0;
        can.size = 8;
        CAN_Send(&can);
        //SCS = 0;
        //SCS_Send = 0;
      }
    }
    if (timer_flag == 5 * multiplier)
    {
    }
    if (timer_flag == 6 * multiplier)
    {
    }
    if (timer_flag == 7 * multiplier)
    {
    }
    if (timer_flag == 8 * multiplier)
    {
    }

    if (timer_flag > 8 * multiplier)
    {
      timer_flag = 0;
    }
    else
    {
      timer_flag++;
    }
  }
}

int send_CAN_data(uint32_t millis)
{

  int sent_flag = 0;

  if (millis % 25 == 0)
  {

    can.dataTx[0] = 0x02;
    can.dataTx[1] = pc6;
    can.dataTx[2] = 0;
    can.dataTx[3] = steer_wheel_prescaler;
    can.dataTx[4] = 0;
    can.dataTx[5] = 0;
    can.dataTx[6] = SCS_Send;
    can.dataTx[7] = 0;
    can.id = 0xB0;
    can.size = 8;
    CAN_Send(&can);
  }
  millis += 1;

  if (millis % 25 == 0)
  {

    if (check != 1)
    {
      can.dataTx[0] = 0x01;
      can.dataTx[1] = pot_2.val_100;
      can.dataTx[2] = pot_1.val_100;
      can.dataTx[3] = steer_wheel_prescaler;
      can.dataTx[4] = 0;
      can.dataTx[5] = 0;
      can.dataTx[6] = SCS_Send;
      can.dataTx[7] = 0;
      can.id = 0xB0;
      can.size = 8;
      CAN_Send(&can);
      //SCS = 0;
      //SCS_Send = 0;
    }
  }
}

/* USER CODE END 4 */

void Error_Handler(void)
{
  while (1)
  {
  }
}

/************************ (C) COPYRIGHT STMicroelectronics *****END OF FILE****/
